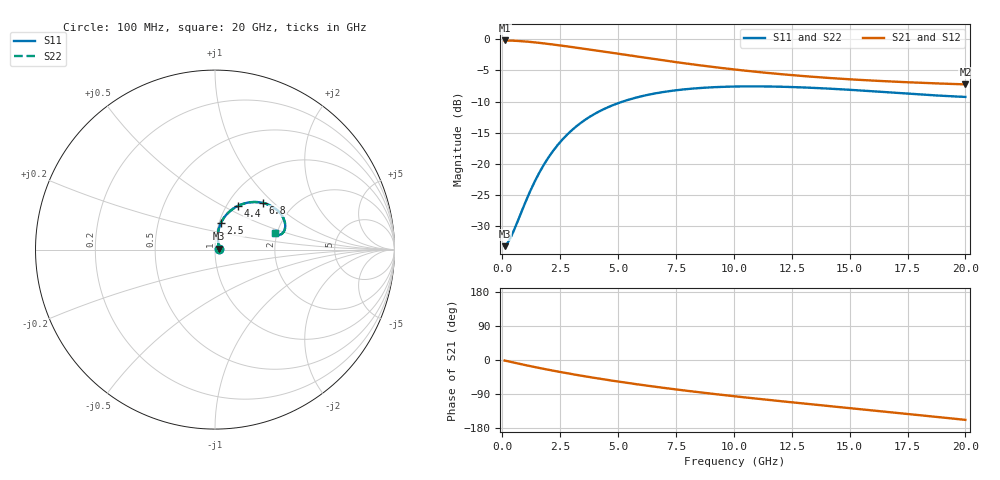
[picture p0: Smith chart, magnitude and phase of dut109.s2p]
! Created with skrf 1.9.0 (http://scikit-rf.org).
# GHz S RI R 50.0
!freq ReS11 ImS11 ReS21 ImS21 ReS12 ImS12 ReS22 ImS22
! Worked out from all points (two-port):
!   200 points, 100 MHz to 20 GHz, reference 50 ohm
!   highest |S21| = -0.19 dB at 100 MHz (marker M1); lowest = -7.2 dB at 20 GHz (marker M2)
!   |S21| within 3 dB of the highest: start of sweep to 6.595 GHz
!   lowest |S11| = -33.2 dB at 100 MHz (marker M3), VSWR 1.04, Z = 52.2 + j0.449 ohm
!   |S11| at or under -10 dB: start of sweep to 5.192 GHz
!   |S22| runs from -33.2 to -7.6 dB; largest |S21 - S12| = 2.2e-15
!   S11 on the Smith chart (normalised r, x): 100 MHz: 1.04, +0.01; 2.5 GHz: 1.02, +0.31; 4.4 GHz: 1.13, +0.60; 6.8 GHz: 1.43, +0.86; 20 GHz: 1.95, +0.40
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0.1  0.0215 0.00429  0.9779 -0.0237  0.9779 -0.0237  0.0215 0.00429
0.2  0.0213 0.00841  0.9764 -0.0471  0.9764 -0.0471  0.0213 0.00841
0.4  0.0206 0.017  0.9707 -0.0934  0.9707 -0.0934  0.0206 0.017
1.1  0.0161 0.0523  0.9245 -0.2444  0.9245 -0.2444  0.0161 0.0523
1.4  0.0153 0.0707  0.895 -0.3016  0.895 -0.3016  0.0153 0.0707
1.6  0.0158 0.0839  0.8731 -0.3369  0.8731 -0.3369  0.0158 0.0839
2  0.02 0.1116  0.825 -0.4005  0.825 -0.4005  0.02 0.1116
2.5  0.032 0.1466  0.7597 -0.4678  0.7597 -0.4678  0.032 0.1466
3  0.0512 0.1793  0.6913 -0.5226  0.6913 -0.5226  0.0512 0.1793
3.5  0.076 0.2076  0.6217 -0.5661  0.6217 -0.5661  0.076 0.2076
3.9  0.0987 0.2262  0.5662 -0.5936  0.5662 -0.5936  0.0987 0.2262
4.4  0.1292 0.2442  0.498 -0.6197  0.498 -0.6197  0.1292 0.2442
5.5  0.1976 0.2638  0.3563 -0.6504  0.3563 -0.6504  0.1976 0.2638
6.8  0.2688 0.2595  0.2092 -0.6511  0.2092 -0.6511  0.2688 0.2595
8.4  0.3329 0.2305  0.0611 -0.6198  0.0611 -0.6198  0.3329 0.2305
10.1  0.3727 0.1896  -0.0615 -0.5672  -0.0615 -0.5672  0.3727 0.1896
11.7  0.389 0.1522  -0.1519 -0.5098  -0.1519 -0.5098  0.389 0.1522
13.4  0.3903 0.1192  -0.2288 -0.445  -0.2288 -0.445  0.3903 0.1192
15  0.3814 0.0971  -0.2876 -0.3815  -0.2876 -0.3815  0.3814 0.0971
16.7  0.3658 0.0842  -0.3382 -0.3109  -0.3382 -0.3109  0.3658 0.0842
18.4  0.3481 0.0824  -0.3774 -0.2365  -0.3774 -0.2365  0.3481 0.0824
20  0.3331 0.0901  -0.4031 -0.1629  -0.4031 -0.1629  0.3331 0.0901
